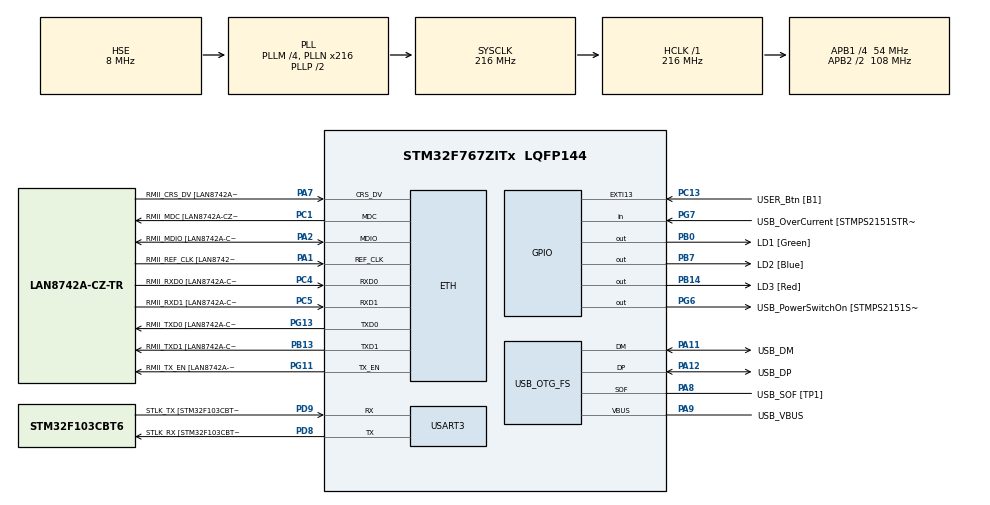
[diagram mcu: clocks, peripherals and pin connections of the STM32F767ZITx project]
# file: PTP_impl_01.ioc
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Dma.Request0=USART3_RX
Dma.Request1=USART3_TX
Dma.USART3_RX.0.Direction=DMA_PERIPH_TO_MEMORY
Dma.USART3_RX.0.FIFOMode=DMA_FIFOMODE_DISABLE
Dma.USART3_RX.0.Instance=DMA1_Stream1
Dma.USART3_RX.0.MemDataAlignment=DMA_MDATAALIGN_BYTE
Dma.USART3_RX.0.MemInc=DMA_MINC_ENABLE
Dma.USART3_RX.0.Mode=DMA_NORMAL
Dma.USART3_RX.0.PeriphDataAlignment=DMA_PDATAALIGN_BYTE
Dma.USART3_RX.0.PeriphInc=DMA_PINC_DISABLE
Dma.USART3_RX.0.Priority=DMA_PRIORITY_LOW
Dma.USART3_TX.1.Direction=DMA_MEMORY_TO_PERIPH
Dma.USART3_TX.1.FIFOMode=DMA_FIFOMODE_DISABLE
Dma.USART3_TX.1.Instance=DMA1_Stream3
Dma.USART3_TX.1.MemDataAlignment=DMA_MDATAALIGN_BYTE
Dma.USART3_TX.1.MemInc=DMA_MINC_ENABLE
Dma.USART3_TX.1.Mode=DMA_NORMAL
Dma.USART3_TX.1.PeriphDataAlignment=DMA_PDATAALIGN_BYTE
Dma.USART3_TX.1.PeriphInc=DMA_PINC_DISABLE
Dma.USART3_TX.1.Priority=DMA_PRIORITY_LOW
ETH.MediaInterface=HAL_ETH_RMII_MODE
ETH.PHY_Name=LAN8742A_PHY_ADDRESS
ETH.PHY_Value=0
ETH.PhyAddress=0
ETH.RxMode=ETH_RXINTERRUPT_MODE
Mcu.Family=STM32F7
Mcu.Name=STM32F767ZITx
Mcu.Package=LQFP144
NVIC.DMA1_Stream1_IRQn=true\:0\:0\:false\:false\:true\:false\:true\:true
NVIC.DMA1_Stream3_IRQn=true\:0\:0\:false\:false\:true\:false\:true\:true
NVIC.ETH_IRQn=true\:0\:0\:false\:false\:true\:true\:true\:true
NVIC.PriorityGroup=NVIC_PRIORITYGROUP_4
PA1.GPIO_Label=RMII_REF_CLK [LAN8742A-CZ-TR_REFCLK0]
PA1.Mode=RMII
PA1.Signal=ETH_REF_CLK
PA10.GPIO_Label=USB_ID
PA10.Signal=USB_OTG_FS_ID
PA11.GPIO_Label=USB_DM
PA11.Mode=Device_Only
PA11.Signal=USB_OTG_FS_DM
PA12.GPIO_Label=USB_DP
PA12.Mode=Device_Only
PA12.Signal=USB_OTG_FS_DP
PA13.GPIO_Label=TMS
PA13.Mode=Serial_Wire
PA13.Signal=SYS_JTMS-SWDIO
PA14.GPIO_Label=TCK
PA14.Mode=Serial_Wire
PA14.Signal=SYS_JTCK-SWCLK
PA2.GPIO_Label=RMII_MDIO [LAN8742A-CZ-TR_MDIO]
PA2.Mode=RMII
PA2.Signal=ETH_MDIO
PA7.GPIO_Label=RMII_CRS_DV [LAN8742A-CZ-TR_CRS_DV]
PA7.Mode=RMII
PA7.Signal=ETH_CRS_DV
PA8.GPIO_Label=USB_SOF [TP1]
PA8.Mode=Activate_SOF_FS
PA8.Signal=USB_OTG_FS_SOF
PA9.GPIO_Label=USB_VBUS
PA9.Mode=Activate_VBUS
PA9.Signal=USB_OTG_FS_VBUS
PB0.GPIO_Label=LD1 [Green]
PB0.PinState=GPIO_PIN_RESET
PB0.Signal=GPIO_Output
PB13.GPIO_Label=RMII_TXD1 [LAN8742A-CZ-TR_TXD1]
PB13.Mode=RMII
PB13.Signal=ETH_TXD1
PB14.GPIO_Label=LD3 [Red]
PB14.Signal=GPIO_Output
PB3.GPIO_Label=SWO
PB3.Signal=SYS_JTDO-SWO
PB7.GPIO_Label=LD2 [Blue]
PB7.Signal=GPIO_Output
PC1.GPIO_Label=RMII_MDC [LAN8742A-CZ-TR_MDC]
PC1.Mode=RMII
PC1.Signal=ETH_MDC
PC13.GPIO_Label=USER_Btn [B1]
PC13.Signal=GPXTI13
PC14/OSC32_IN.Mode=LSE-External-Oscillator
PC14/OSC32_IN.Signal=RCC_OSC32_IN
PC15/OSC32_OUT.Mode=LSE-External-Oscillator
PC15/OSC32_OUT.Signal=RCC_OSC32_OUT
PC4.GPIO_Label=RMII_RXD0 [LAN8742A-CZ-TR_RXD0]
PC4.Mode=RMII
PC4.Signal=ETH_RXD0
PC5.GPIO_Label=RMII_RXD1 [LAN8742A-CZ-TR_RXD1]
PC5.Mode=RMII
PC5.Signal=ETH_RXD1
PD8.GPIO_Label=STLK_RX [STM32F103CBT6_PA3]
PD8.Mode=Asynchronous
PD8.Signal=USART3_TX
PD9.GPIO_Label=STLK_TX [STM32F103CBT6_PA2]
PD9.Mode=Asynchronous
PD9.Signal=USART3_RX
PG11.GPIO_Label=RMII_TX_EN [LAN8742A-CZ-TR_TXEN]
PG11.Mode=RMII
PG11.Signal=ETH_TX_EN
PG13.GPIO_Label=RMII_TXD0 [LAN8742A-CZ-TR_TXD0]
PG13.Mode=RMII
PG13.Signal=ETH_TXD0
PG6.GPIO_Label=USB_PowerSwitchOn [STMPS2151STR_EN]
PG6.Signal=GPIO_Output
PG7.GPIO_Label=USB_OverCurrent [STMPS2151STR_FAULT]
PG7.Signal=GPIO_Input
PH0/OSC_IN.GPIO_Label=MCO [STM32F103CBT6_PA8]
PH0/OSC_IN.Mode=HSE-External-Clock-Source
PH0/OSC_IN.Signal=RCC_OSC_IN
PH1/OSC_OUT.Mode=HSE-External-Clock-Source
PH1/OSC_OUT.Signal=RCC_OSC_OUT
ProjectManager.HeapSize=0x200
ProjectManager.StackSize=0x400
ProjectManager.TargetToolchain=STM32CubeIDE
RCC.48MHZClocksFreq_Value=24000000
RCC.AHBFreq_Value=216000000
RCC.APB1CLKDivider=RCC_HCLK_DIV4
RCC.APB1Freq_Value=54000000
RCC.APB1TimFreq_Value=108000000
RCC.APB2CLKDivider=RCC_HCLK_DIV2
RCC.APB2Freq_Value=108000000
RCC.APB2TimFreq_Value=216000000
RCC.CortexFreq_Value=216000000
RCC.HCLKFreq_Value=216000000
RCC.HSE_VALUE=8000000
RCC.HSI_VALUE=16000000
RCC.PLLM=4
RCC.PLLMUL=RCC_PLL_MUL9
RCC.PLLN=216
RCC.PLLQ=9
RCC.PRESCALERUSB=RCC_USBCLKSOURCE_PLL_DIV1_5
RCC.SYSCLKFreq_VALUE=216000000
RCC.SYSCLKSource=RCC_SYSCLKSOURCE_PLLCLK
RCC.SYSCLKSourceVirtual=RCC_SYSCLKSOURCE_PLLCLK
RCC.USBFreq_Value=48000000
RCC.VCOOutputFreq_Value=432000000
USART3.VirtualMode-Asynchronous=VM_ASYNC
USB_OTG_FS.VirtualMode=Device_Only
board=NUCLEO-F767ZI

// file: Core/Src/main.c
/* USER CODE BEGIN Header */
/**
  ******************************************************************************
  * @file           : main.c SLAVE
  * @brief          : Main program body
  ******************************************************************************
  * @attention
  *
  * Copyright (c) 2026 STMicroelectronics.
  * All rights reserved.
  *
  * This software is licensed under terms that can be found in the LICENSE file
  * in the root directory of this software component.
  * If no LICENSE file comes with this software, it is provided AS-IS.
  *
  ******************************************************************************
  */
/* USER CODE END Header */
#include "main.h"
#include "string.h"

/* USER CODE BEGIN PTD */
typedef struct
{
    uint8_t  pending;
    uint16_t seq_id;
    uint32_t sec;
    uint32_t nsec;
} PTP_RxTimestampEvent;

typedef struct
{
    uint8_t  pending;
    uint16_t seq_id;
    uint32_t sec;
    uint32_t nsec;
} PTP_FollowUpEvent;

typedef struct
{
    uint8_t  pending;
    uint16_t seq_id;
    uint32_t sec;
    uint32_t nsec;
} PTP_DelayRespEvent;
/* USER CODE END PTD */

/* USER CODE BEGIN PD */
#define PTP_SYNC                      0U
#define PTP_DELAY_REQ                 1U
#define PTP_FOLLOW_UP                 8U
#define PTP_DELAY_RESP                9U

#define ETH_RX_BUFFER_SIZE            1524U
#define PTP_WAIT_LOOP                 1000000UL

#define PTP_HCLK_HZ                   216000000ULL
#define PTP_SUBSEC_INCREMENT_NS       5ULL
#define PTP_ENABLE_FINE_MODE          1U

#define PTP_NS_PER_SEC                1000000000ULL
#define PTP_SUBSEC_PER_SEC            0x80000000ULL

#define PTP_PHASE_HARD_STEP_THRESHOLD_NS   5000000LL   /* 5 ms */
#define PTP_PHASE_HARD_STEP_LIMIT_NS       1000000LL   /* 1 ms, только для редких крупных ошибок */

#define PTP_FREQ_LOCK_PPB                   100LL
#define PTP_FREQ_LOCK_MIN_CYCLES              8U
#define PTP_PHASE_CAPTURE_THRESHOLD_NS    3000LL
#define PTP_PHASE_CAPTURE_NUM                7LL
#define PTP_PHASE_CAPTURE_DEN                8LL
#define PTP_PHASE_CAPTURE_LIMIT_NS      100000LL
#define PTP_PHASE_HOLDOFF_CYCLES            12U

#define PTP_FREQ_MIN_CYCLE_NS            100000000LL  /* >=100 ms */
#define PTP_FREQ_ADDEND_STEP_MAX             2000LL
#define PTP_FREQ_ADDEND_OFFSET_MAX        1000000LL
#define PTP_FREQ_DEADBAND_OFFSET_NS         1000LL
#define PTP_FREQ_DEADBAND_PPB                 20LL

#define PTP_FREQ_FAST_ZONE_NS              20000LL
#define PTP_FREQ_MEDIUM_ZONE_NS             5000LL

#define PTP_FREQ_SHIFT_FAST                    2U
#define PTP_FREQ_SHIFT_MEDIUM                  3U
#define PTP_FREQ_SHIFT_SLOW                    5U

/* USER CODE END PD */

#if defined ( __ICCARM__ ) /*!< IAR Compiler */
#pragma location=0x2007c000
ETH_DMADescTypeDef  DMARxDscrTab[ETH_RX_DESC_CNT]; /* Ethernet Rx DMA Descriptors */
#pragma location=0x2007c0a0
ETH_DMADescTypeDef  DMATxDscrTab[ETH_TX_DESC_CNT]; /* Ethernet Tx DMA Descriptors */

#elif defined ( __CC_ARM )  /* MDK ARM Compiler */

__attribute__((at(0x2007c000))) ETH_DMADescTypeDef  DMARxDscrTab[ETH_RX_DESC_CNT]; /* Ethernet Rx DMA Descriptors */
__attribute__((at(0x2007c0a0))) ETH_DMADescTypeDef  DMATxDscrTab[ETH_TX_DESC_CNT]; /* Ethernet Tx DMA Descriptors */

#elif defined ( __GNUC__ ) /* GNU Compiler */

ETH_DMADescTypeDef DMARxDscrTab[ETH_RX_DESC_CNT] __attribute__((section(".RxDecripSection"))); /* Ethernet Rx DMA Descriptors */
ETH_DMADescTypeDef DMATxDscrTab[ETH_TX_DESC_CNT] __attribute__((section(".TxDecripSection")));   /* Ethernet Tx DMA Descriptors */
#endif

ETH_TxPacketConfig TxConfig;

ETH_HandleTypeDef heth;

UART_HandleTypeDef huart3;
DMA_HandleTypeDef hdma_usart3_rx;
DMA_HandleTypeDef hdma_usart3_tx;

PCD_HandleTypeDef hpcd_USB_OTG_FS;

/* USER CODE BEGIN PV */
uint8_t Rx_Buff[ETH_RX_DESC_CNT][ETH_RX_BUFFER_SIZE];
uint8_t delay_req_frame[58];

volatile uint32_t sec;
volatile uint32_t nsec;

volatile uint8_t  ptp_synced = 0U;
volatile uint8_t  sync_received = 0U;
volatile uint8_t  delayreq_pending = 0U;
volatile uint8_t  delayreq_tx_ts_waiting = 0U;
volatile uint8_t  ptp_request_delayreq = 0U;

volatile uint16_t sync_seq_id = 0U;
volatile uint16_t delayreq_seq_id = 0U;

volatile uint32_t follow_sec = 0U;
volatile uint32_t follow_nsec = 0U;
volatile uint32_t sync_rx_sec = 0U;
volatile uint32_t sync_rx_nsec = 0U;
volatile uint32_t tx_t3_sec = 0U;
volatile uint32_t tx_t3_nsec = 0U;
volatile uint32_t resp_t4_sec = 0U;
volatile uint32_t resp_t4_nsec = 0U;

volatile int64_t t1 = 0;
volatile int64_t t2 = 0;
volatile int64_t t3 = 0;
volatile int64_t t4 = 0;

volatile int64_t delta_sync = 0;
volatile int64_t delta_delay = 0;
volatile int64_t mean_path_delay = 0;
volatile int64_t ptp_offset_e2e = 0;
volatile int64_t ptp_offset = 0;
volatile int32_t ptp_offset_ns = 0;
volatile int64_t offset_avg = 0;

volatile uint32_t delayresp_count = 0U;
volatile uint32_t tx_ts_seen = 0U;
volatile uint32_t sync_rx_ts_valid_count = 0U;

volatile uint32_t ptp_default_addend = 0U;
volatile uint32_t ptp_current_addend = 0U;
volatile uint32_t ptp_addend_update_count = 0U;
volatile uint32_t ptp_reg_timeout_count = 0U;
volatile uint32_t ptp_tx_req_fail_count = 0U;
volatile int64_t  ptp_last_update_ns = 0;

volatile PTP_RxTimestampEvent g_sync_evt = {0};
volatile PTP_FollowUpEvent    g_follow_evt = {0};
volatile PTP_DelayRespEvent   g_delayresp_evt = {0};

static uint32_t delayreq_tx_desc_idx = 0U;

volatile uint8_t  ptp_freq_servo_locked = 0U;

volatile int64_t  ptp_master_time_prev = 0;
volatile int64_t  ptp_slave_time_prev  = 0;
volatile int64_t  ptp_master_count     = 0;
volatile int64_t  ptp_slave_count      = 0;
volatile int64_t  ptp_clock_diff       = 0;
volatile int64_t  ptp_freq_err_ppb     = 0;
volatile int64_t  ptp_last_addend_step = 0;

volatile uint32_t ptp_freq_update_count = 0U;
volatile uint32_t ptp_phase_step_count  = 0U;

volatile uint32_t ptp_freq_lock_count = 0U;
volatile uint8_t  ptp_phase_holdoff = 0U;

/* USER CODE END PV */

void SystemClock_Config(void);
static void MX_GPIO_Init(void);
static void MX_DMA_Init(void);
static void MX_ETH_Init(void);
static void MX_USART3_UART_Init(void);
static void MX_USB_OTG_FS_PCD_Init(void);
static uint8_t PTP_TryReadTxTimestamp(void);
/* USER CODE BEGIN PFP */
static void PTP_HW_Init(void);
static void PTP_Process(void);
static void PTP_SendDelayReq(void);
static void PTP_BuildDelayReqFrame(uint8_t *frame, uint16_t seq_id);
static uint8_t PTP_WaitRegBitClear(volatile uint32_t *reg, uint32_t mask, uint32_t loops);
static uint32_t PTP_NsToSubsec(uint32_t ns_val);
static uint32_t PTP_UpdateLowFromNs(uint32_t ns_val, uint8_t negative);
static uint32_t PTP_CalcDefaultAddend(void);
static uint8_t PTP_ApplyAddend(uint32_t addend);
static uint8_t PTP_ApplyTimeInitialize(uint32_t sec_val, uint32_t nsec_val);
static uint8_t PTP_ApplyTimeUpdateNs(int64_t corr_ns);
static uint32_t PTP_ParseSecondsLow32(const uint8_t *ts);
static uint32_t PTP_ParseNanoseconds(const uint8_t *ts);
static int64_t  PTP_ToNs(uint32_t sec_val, uint32_t nsec_val);
static void    PTP_ServoReset(void);
static int64_t PTP_Abs64(int64_t v);
static uint8_t PTP_ApplyAddendFiltered(int64_t delta_addend);
static void    PTP_UpdateFrequencyServo(int64_t master_time_now, int64_t slave_time_now);
/* USER CODE END PFP */

/* USER CODE BEGIN 0 */

static uint8_t PTP_WaitRegBitClear(volatile uint32_t *reg, uint32_t mask, uint32_t loops)
{
    while (((*reg) & mask) != 0U)
    {
        if (loops-- == 0U)
        {
            ptp_reg_timeout_count++;
            return 0U;
        }
    }
    return 1U;
}

static uint32_t PTP_NsToSubsec(uint32_t ns_val)
{
    uint64_t tmp;

    if (ns_val >= 1000000000UL)
    {
        ns_val = 999999999UL;
    }

    tmp = ((uint64_t)ns_val * PTP_SUBSEC_PER_SEC + (PTP_NS_PER_SEC / 2ULL)) / PTP_NS_PER_SEC;
    if (tmp > 0x7FFFFFFFULL)
    {
        tmp = 0x7FFFFFFFULL;
    }

    return (uint32_t)tmp;
}

static uint32_t PTP_UpdateLowFromNs(uint32_t ns_val, uint8_t negative)
{
    uint32_t low = PTP_NsToSubsec(ns_val) & 0x7FFFFFFFUL;

    if (negative != 0U)
    {
        low |= 0x80000000UL;
    }

    return low;
}

static uint32_t PTP_CalcDefaultAddend(void)
{
    const uint64_t num = (1ULL << 32) * 1000000000ULL;
    const uint64_t den = PTP_HCLK_HZ * PTP_SUBSEC_INCREMENT_NS;
    return (uint32_t)(num / den);
}

static uint8_t PTP_ApplyAddend(uint32_t addend)
{
    if (!PTP_WaitRegBitClear(&ETH->PTPTSCR, ETH_PTPTSCR_TSARU, PTP_WAIT_LOOP))
    {
        return 0U;
    }

    ETH->PTPTSAR = addend;
    ETH->PTPTSCR |= ETH_PTPTSCR_TSARU;

    if (!PTP_WaitRegBitClear(&ETH->PTPTSCR, ETH_PTPTSCR_TSARU, PTP_WAIT_LOOP))
    {
        return 0U;
    }

    ptp_current_addend = addend;
    ptp_addend_update_count++;
    return 1U;
}

static uint8_t PTP_ApplyTimeInitialize(uint32_t sec_val, uint32_t nsec_val)
{
    uint32_t low;

    if (!PTP_WaitRegBitClear(&ETH->PTPTSCR, ETH_PTPTSCR_TSSTI | ETH_PTPTSCR_TSSTU, PTP_WAIT_LOOP))
    {
        return 0U;
    }

    low = PTP_UpdateLowFromNs(nsec_val, 0U);

    ETH->PTPTSHUR = sec_val;
    ETH->PTPTSLUR = low;
    ptp_last_update_ns = 0;

    ETH->PTPTSCR |= ETH_PTPTSCR_TSSTI;

    return PTP_WaitRegBitClear(&ETH->PTPTSCR, ETH_PTPTSCR_TSSTI, PTP_WAIT_LOOP);
}

static uint8_t PTP_ApplyTimeUpdateNs(int64_t corr_ns)
{
    uint32_t sec_upd;
    uint32_t nsec_mag;
    uint8_t negative;
    uint32_t low;

    if (corr_ns == 0)
    {
        return 1U;
    }

    if (!PTP_WaitRegBitClear(&ETH->PTPTSCR, ETH_PTPTSCR_TSSTI | ETH_PTPTSCR_TSSTU, PTP_WAIT_LOOP))
    {
        return 0U;
    }

    sec_upd = 0U;
    nsec_mag = 0U;
    negative = 0U;

    if (corr_ns < 0)
    {
        int64_t mag = -corr_ns;
        sec_upd  = (uint32_t)(mag / 1000000000LL);
        nsec_mag = (uint32_t)(mag % 1000000000LL);
        negative = 1U;
    }
    else
    {
        sec_upd  = (uint32_t)(corr_ns / 1000000000LL);
        nsec_mag = (uint32_t)(corr_ns % 1000000000LL);
    }

    low = PTP_UpdateLowFromNs(nsec_mag, negative);

    ETH->PTPTSHUR = sec_upd;
    ETH->PTPTSLUR = low;
    ptp_last_update_ns = corr_ns;

    ETH->PTPTSCR |= ETH_PTPTSCR_TSSTU;

    return PTP_WaitRegBitClear(&ETH->PTPTSCR, ETH_PTPTSCR_TSSTU, PTP_WAIT_LOOP);
}

static int64_t PTP_ToNs(uint32_t sec_val, uint32_t nsec_val)
{
    return ((int64_t)sec_val * 1000000000LL) + (int64_t)nsec_val;
}

static uint32_t PTP_ParseSecondsLow32(const uint8_t *ts)
{
    return ((uint32_t)ts[2] << 24) |
           ((uint32_t)ts[3] << 16) |
           ((uint32_t)ts[4] << 8)  |
           ((uint32_t)ts[5]);
}

static uint32_t PTP_ParseNanoseconds(const uint8_t *ts)
{
    return ((uint32_t)ts[6] << 24) |
           ((uint32_t)ts[7] << 16) |
           ((uint32_t)ts[8] << 8)  |
           ((uint32_t)ts[9]);
}

static void PTP_HW_Init(void)
{
    uint32_t ptptscr = 0U;

    ETH->MACFFR |= ETH_MACFFR_RA | ETH_MACFFR_PM;
    ETH->MACIMR |= (1UL << 9);
    ETH->PTPSSIR = (uint32_t)PTP_SUBSEC_INCREMENT_NS;

    ptptscr |= ETH_PTPTSCR_TSE;
    ptptscr |= ETH_PTPTSCR_TSPTPPSV2E;
    ptptscr |= ETH_PTPTSCR_TSSPTPOEFE;
    ptptscr |= ETH_PTPTSCR_TSSSR;
    ptptscr |= ETH_PTPTSCR_TSSARFE;
#if PTP_ENABLE_FINE_MODE
    ptptscr |= ETH_PTPTSCR_TSFCU;
#endif
    ETH->PTPTSCR = ptptscr;

    ptp_default_addend = PTP_CalcDefaultAddend();
    ptp_current_addend = ptp_default_addend;
#if PTP_ENABLE_FINE_MODE
    (void)PTP_ApplyAddend(ptp_default_addend);
#endif

    (void)PTP_ApplyTimeInitialize(0U, 0U);
}

static void PTP_BuildDelayReqFrame(uint8_t *frame, uint16_t seq_id)
{
    memset(frame, 0, 58U);

    frame[0]  = 0x01;
    frame[1]  = 0x1B;
    frame[2]  = 0x19;
    frame[3]  = 0x00;
    frame[4]  = 0x00;
    frame[5]  = 0x00;

    frame[6]  = 0x00;
    frame[7]  = 0x80;
    frame[8]  = 0xE1;
    frame[9]  = 0x00;
    frame[10] = 0x00;
    frame[11] = 0x00;

    frame[12] = 0x88;
    frame[13] = 0xF7;

    frame[14] = 0x01;
    frame[15] = 0x02;

    frame[16] = 0x00;
    frame[17] = 44U;

    frame[18] = 0x00;
    frame[19] = 0x00;

    frame[20] = 0x00;
    frame[21] = 0x00;

    frame[34] = 0x00;
    frame[35] = 0x80;
    frame[36] = 0xE1;
    frame[37] = 0xFF;
    frame[38] = 0xFE;
    frame[39] = 0x00;
    frame[40] = 0x00;
    frame[41] = 0x00;
    frame[42] = 0x00;
    frame[43] = 0x01;

    frame[44] = (uint8_t)((seq_id >> 8) & 0xFFU);
    frame[45] = (uint8_t)(seq_id & 0xFFU);

    frame[46] = 0x01;
    frame[47] = 0x7F;
}

static void PTP_SendDelayReq(void)
{
    ETH_BufferTypeDef txBuffer;
    ETH_DMADescTypeDef *txdesc;
    uint32_t *td;
    uint16_t seq;

    TxConfig.Attributes   = ETH_TX_PACKETS_FEATURES_CRCPAD;
    TxConfig.ChecksumCtrl = ETH_CHECKSUM_DISABLE;
    TxConfig.CRCPadCtrl   = ETH_CRC_PAD_INSERT;

    seq = ++delayreq_seq_id;
    PTP_BuildDelayReqFrame(delay_req_frame, seq);

    txBuffer.buffer = delay_req_frame;
    txBuffer.len    = sizeof(delay_req_frame);
    txBuffer.next   = NULL;

    TxConfig.Length   = sizeof(delay_req_frame);
    TxConfig.TxBuffer = &txBuffer;

    delayreq_tx_desc_idx = heth.TxDescList.CurTxDesc;
    txdesc = (ETH_DMADescTypeDef *)heth.TxDescList.TxDesc[delayreq_tx_desc_idx];
    td = (uint32_t *)txdesc;
    td[0] |= (1UL << 25);

    tx_t3_sec  = 0U;
    tx_t3_nsec = 0U;

    if (HAL_ETH_Transmit_IT(&heth, &TxConfig) == HAL_OK)
    {
        delayreq_pending = 1U;
        delayreq_tx_ts_waiting = 1U;
    }
    else
    {
        ptp_tx_req_fail_count++;
    }
}

static uint8_t PTP_TryReadTxTimestamp(void)
{
    ETH_DMADescTypeDef *txdesc;
    uint32_t *td;

    if (delayreq_tx_ts_waiting == 0U)
    {
        return 0U;
    }

    txdesc = (ETH_DMADescTypeDef *)heth.TxDescList.TxDesc[delayreq_tx_desc_idx];
    td = (uint32_t *)txdesc;

    if ((td[0] & (1UL << 31)) == 0U)
    {
        if ((td[0] & (1UL << 17)) != 0U)
        {
            tx_t3_nsec = td[6];
            tx_t3_sec  = td[7];
            tx_ts_seen++;
            delayreq_tx_ts_waiting = 0U;
            return 1U;
        }
    }

    return 0U;
}

static void PTP_Process(void)
{
    if (g_sync_evt.pending != 0U)
    {
        sync_seq_id   = g_sync_evt.seq_id;
        sync_rx_sec   = g_sync_evt.sec;
        sync_rx_nsec  = g_sync_evt.nsec;
        sync_received = 1U;
        g_sync_evt.pending = 0U;
    }

    if (g_follow_evt.pending != 0U)
    {
        follow_sec  = g_follow_evt.sec;
        follow_nsec = g_follow_evt.nsec;

        if ((g_follow_evt.seq_id == sync_seq_id) && (sync_received != 0U))
        {
            if (ptp_synced == 0U)
            {
                if (PTP_ApplyTimeInitialize(follow_sec, follow_nsec) != 0U)
                {
                    ptp_synced = 1U;
                    offset_avg = 0;
                    PTP_ServoReset();
                }
            }

            if ((ptp_synced != 0U) && (delayreq_pending == 0U))
            {
                ptp_request_delayreq = 1U;
            }
        }

        g_follow_evt.pending = 0U;
    }

    if ((ptp_request_delayreq != 0U) && (delayreq_pending == 0U))
    {
        ptp_request_delayreq = 0U;
        PTP_SendDelayReq();
    }

    if (g_delayresp_evt.pending != 0U)
    {
        resp_t4_sec  = g_delayresp_evt.sec;
        resp_t4_nsec = g_delayresp_evt.nsec;

        if (g_delayresp_evt.seq_id == delayreq_seq_id)
        {
            delayresp_count++;
            delayreq_pending = 0U;

            if (((tx_t3_sec != 0U) || (tx_t3_nsec != 0U)) && (delayreq_tx_ts_waiting == 0U))
            {

                t1 = PTP_ToNs(follow_sec, follow_nsec);
                t2 = PTP_ToNs(sync_rx_sec, sync_rx_nsec);
                t3 = PTP_ToNs(tx_t3_sec, tx_t3_nsec);
                t4 = PTP_ToNs(resp_t4_sec, resp_t4_nsec);

                delta_sync  = t2 - t1;
                delta_delay = t4 - t3;

                mean_path_delay = ((t2 - t1) + (t4 - t3)) / 2LL;
                ptp_offset_e2e  = ((t2 - t1) - (t4 - t3)) / 2LL;
                ptp_offset      = ptp_offset_e2e;
                ptp_offset_ns   = (int32_t)ptp_offset_e2e;

                {
                    int64_t master_time_now;
                    int64_t slave_time_now;
                    int64_t corr;

                    offset_avg = (offset_avg * 7LL + ptp_offset_e2e) / 8LL;

                    master_time_now = t1 + mean_path_delay;
                    slave_time_now  = t2;

                    /* 1) Частотная подстройка должна идти постоянно */
                    PTP_UpdateFrequencyServo(master_time_now, slave_time_now);

                    if (PTP_Abs64(ptp_freq_err_ppb) < PTP_FREQ_LOCK_PPB)
                    {
                        if (ptp_freq_lock_count < 1000U)
                        {
                            ptp_freq_lock_count++;
                        }
                    }
                    else
                    {
                        ptp_freq_lock_count = 0U;
                    }

                    /* 2) Очень большая ошибка фазы -> редкий грубый шаг */
                    if (PTP_Abs64(ptp_offset_e2e) > PTP_PHASE_HARD_STEP_THRESHOLD_NS)
                    {
                        corr = -ptp_offset_e2e;

                        if (corr > PTP_PHASE_HARD_STEP_LIMIT_NS)
                        {
                            corr = PTP_PHASE_HARD_STEP_LIMIT_NS;
                        }
                        else if (corr < -PTP_PHASE_HARD_STEP_LIMIT_NS)
                        {
                            corr = -PTP_PHASE_HARD_STEP_LIMIT_NS;
                        }

                        if (PTP_ApplyTimeUpdateNs(corr) != 0U)
                        {
                            ptp_phase_step_count++;
                            ptp_last_update_ns = corr;
                            PTP_ServoReset();
                            offset_avg = 0;
                            ptp_phase_holdoff = 12U;
                        }
                    }
                    /* 3) Небольшая, но устойчивая фазовая ошибка -> мягкий trim */
                    else
                    {
                        if (ptp_phase_holdoff != 0U)
                        {
                            ptp_phase_holdoff--;
                        }
                        else if (ptp_freq_lock_count >= PTP_FREQ_LOCK_MIN_CYCLES)
                        {
                            if (PTP_Abs64(offset_avg) > PTP_PHASE_CAPTURE_THRESHOLD_NS)
                            {
                                corr = -(offset_avg * PTP_PHASE_CAPTURE_NUM) / PTP_PHASE_CAPTURE_DEN;

                                if (corr > PTP_PHASE_CAPTURE_LIMIT_NS)
                                {
                                    corr = PTP_PHASE_CAPTURE_LIMIT_NS;
                                }
                                else if (corr < -PTP_PHASE_CAPTURE_LIMIT_NS)
                                {
                                    corr = -PTP_PHASE_CAPTURE_LIMIT_NS;
                                }

                                if (PTP_ApplyTimeUpdateNs(corr) != 0U)
                                {
                                    ptp_phase_step_count++;
                                    ptp_last_update_ns = corr;
                                    offset_avg = 0;
                                    ptp_phase_holdoff = PTP_PHASE_HOLDOFF_CYCLES;
                                    ptp_freq_servo_locked = 0U;
                                    ptp_freq_lock_count = 0U;
                                }
                            }
                        }
                    }
                }
            }
        }

        g_delayresp_evt.pending = 0U;
    }
}

void HAL_ETH_RxAllocateCallback(uint8_t **buff)
{
    static uint32_t idx = 0U;

    *buff = Rx_Buff[idx];

    idx++;
    if (idx >= ETH_RX_DESC_CNT)
    {
        idx = 0U;
    }
}

void HAL_ETH_RxLinkCallback(void **pStart, void **pEnd, uint8_t *buff, uint16_t len)
{
    (void)len;

    if (*pStart == NULL)
    {
        *pStart = buff;
    }
    else
    {
        *(uint8_t **)(*pEnd) = buff;
    }

    *pEnd = buff;
}

void HAL_ETH_TxFreeCallback(uint32_t *buff)
{
    (void)buff;
}

void HAL_ETH_RxCpltCallback(ETH_HandleTypeDef *heth_local)
{
    uint8_t *buf = NULL;

    if (HAL_ETH_ReadData(heth_local, (void **)&buf) == HAL_OK)
    {
        uint16_t eth_type;
        uint8_t  ptp_message;
        uint16_t ptp_seq_id;
        uint32_t rx_sec;
        uint32_t rx_nsec;
        uint32_t idx;
        ETH_DMADescTypeDef *desc;
        uint32_t *d;
        uint8_t rx_hw_valid = 0U;
        uint32_t rx_hw_sec = 0U;
        uint32_t rx_hw_nsec = 0U;

        eth_type = ((uint16_t)buf[12] << 8) | buf[13];
        rx_sec   = ETH->PTPTSHR;
        rx_nsec  = ETH->PTPTSLR;

        if (eth_type != 0x88F7U)
        {
            return;
        }

        ptp_message = buf[14] & 0x0FU;
        ptp_seq_id  = ((uint16_t)buf[44] << 8) | buf[45];

        idx = heth_local->RxDescList.RxDescIdx;
        idx = (idx == 0U) ? (ETH_RX_DESC_CNT - 1U) : (idx - 1U);

        desc = (ETH_DMADescTypeDef *)heth_local->RxDescList.RxDesc[idx];
        d = (uint32_t *)desc;

        /* For received PTP event frames on this setup, d[6]/d[7] carry the valid RX timestamp. */
        if ((d[6] != 0U) || (d[7] != 0U))
        {
            rx_hw_nsec = d[6];
            rx_hw_sec  = d[7];
            rx_hw_valid = 1U;
        }

        if (ptp_message == PTP_SYNC)
        {
            g_sync_evt.pending = 1U;
            g_sync_evt.seq_id  = ptp_seq_id;

            if (rx_hw_valid != 0U)
            {
                g_sync_evt.sec  = rx_hw_sec;
                g_sync_evt.nsec = rx_hw_nsec;
                sync_rx_ts_valid_count++;
            }
            else
            {
                g_sync_evt.sec  = rx_sec;
                g_sync_evt.nsec = rx_nsec;
            }
        }
        else if (ptp_message == PTP_FOLLOW_UP)
        {
            const uint8_t *ts = &buf[48];

            g_follow_evt.pending = 1U;
            g_follow_evt.seq_id  = ptp_seq_id;
            g_follow_evt.sec     = PTP_ParseSecondsLow32(ts);
            g_follow_evt.nsec    = PTP_ParseNanoseconds(ts);
        }
        else if (ptp_message == PTP_DELAY_RESP)
        {
            const uint8_t *ts = &buf[48];

            g_delayresp_evt.pending = 1U;
            g_delayresp_evt.seq_id  = ptp_seq_id;
            g_delayresp_evt.sec     = PTP_ParseSecondsLow32(ts);
            g_delayresp_evt.nsec    = PTP_ParseNanoseconds(ts);
        }

        HAL_GPIO_TogglePin(LD3_GPIO_Port, LD3_Pin);
    }
}

static int64_t PTP_Abs64(int64_t v)
{
    return (v < 0) ? -v : v;
}

static void PTP_ServoReset(void)
{
    ptp_freq_servo_locked = 0U;
    ptp_master_time_prev  = 0;
    ptp_slave_time_prev   = 0;
    ptp_master_count      = 0;
    ptp_slave_count       = 0;
    ptp_clock_diff        = 0;
    ptp_freq_err_ppb      = 0;
    ptp_last_addend_step  = 0;
    ptp_freq_lock_count   = 0U;
    ptp_phase_holdoff	  = 0U;
}

static uint8_t PTP_ApplyAddendFiltered(int64_t delta_addend)
{
    int64_t new_addend;
    int64_t min_addend;
    int64_t max_addend;

    if (delta_addend > PTP_FREQ_ADDEND_STEP_MAX)
    {
        delta_addend = PTP_FREQ_ADDEND_STEP_MAX;
    }
    else if (delta_addend < -PTP_FREQ_ADDEND_STEP_MAX)
    {
        delta_addend = -PTP_FREQ_ADDEND_STEP_MAX;
    }

    min_addend = (int64_t)ptp_default_addend - PTP_FREQ_ADDEND_OFFSET_MAX;
    max_addend = (int64_t)ptp_default_addend + PTP_FREQ_ADDEND_OFFSET_MAX;

    new_addend = (int64_t)ptp_current_addend + delta_addend;

    if (new_addend < min_addend)
    {
        new_addend = min_addend;
    }
    else if (new_addend > max_addend)
    {
        new_addend = max_addend;
    }

    ptp_last_addend_step = delta_addend;

    if ((uint32_t)new_addend == ptp_current_addend)
    {
        return 1U;
    }

    if (PTP_ApplyAddend((uint32_t)new_addend) != 0U)
    {
        ptp_freq_update_count++;
        return 1U;
    }

    return 0U;
}

static void PTP_UpdateFrequencyServo(int64_t master_time_now, int64_t slave_time_now)
{
    int64_t master_count;
    int64_t slave_count;
    int64_t clock_diff;
    int64_t delta_addend;
    int64_t abs_offset;
    uint32_t freq_shift;

    if (ptp_freq_servo_locked == 0U)
    {
        ptp_master_time_prev = master_time_now;
        ptp_slave_time_prev  = slave_time_now;
        ptp_freq_servo_locked = 1U;
        return;
    }

    master_count = master_time_now - ptp_master_time_prev;
    slave_count  = slave_time_now  - ptp_slave_time_prev;

    ptp_master_time_prev = master_time_now;
    ptp_slave_time_prev  = slave_time_now;

    if ((master_count < PTP_FREQ_MIN_CYCLE_NS) || (slave_count < PTP_FREQ_MIN_CYCLE_NS))
    {
        return;
    }

    if (slave_count <= 0)
    {
        return;
    }

    clock_diff = master_count - slave_count;

    ptp_master_count = master_count;
    ptp_slave_count  = slave_count;
    ptp_clock_diff   = clock_diff;
    ptp_freq_err_ppb = (clock_diff * 1000000000LL) / slave_count;

    abs_offset = PTP_Abs64(ptp_offset_e2e);

    /* около нуля addend лучше лишний раз не дёргать */
    if ((abs_offset < PTP_FREQ_DEADBAND_OFFSET_NS) &&
        (PTP_Abs64(ptp_freq_err_ppb) < PTP_FREQ_DEADBAND_PPB))
    {
        ptp_last_addend_step = 0;
        return;
    }

    if (abs_offset > PTP_FREQ_FAST_ZONE_NS)
    {
        freq_shift = PTP_FREQ_SHIFT_FAST;
    }
    else if (abs_offset > PTP_FREQ_MEDIUM_ZONE_NS)
    {
        freq_shift = PTP_FREQ_SHIFT_MEDIUM;
    }
    else
    {
        freq_shift = PTP_FREQ_SHIFT_SLOW;
    }

    delta_addend = ((int64_t)ptp_current_addend * clock_diff) / slave_count;
    delta_addend >>= freq_shift;

    (void)PTP_ApplyAddendFiltered(delta_addend);
}

/* USER CODE END 0 */

int main(void)
{

  /* MCU Configuration--------------------------------------------------------*/

  /* Reset of all peripherals, Initializes the Flash interface and the Systick. */
  HAL_Init();

  /* Configure the system clock */
  SystemClock_Config();

  /* USER CODE BEGIN SysInit */
  //SCB_DisableDCache();
  /* USER CODE END SysInit */

  /* Initialize all configured peripherals */
  MX_GPIO_Init();
  MX_DMA_Init();
  MX_ETH_Init();
  MX_USART3_UART_Init();
  MX_USB_OTG_FS_PCD_Init();
  /* USER CODE BEGIN 2 */

  HAL_ETH_RegisterRxAllocateCallback(&heth, HAL_ETH_RxAllocateCallback);
  HAL_ETH_RegisterRxLinkCallback(&heth, HAL_ETH_RxLinkCallback);
  HAL_ETH_RegisterTxFreeCallback(&heth, HAL_ETH_TxFreeCallback);

  HAL_NVIC_EnableIRQ(ETH_IRQn);

  HAL_ETH_Start_IT(&heth);
  __HAL_ETH_DMA_ENABLE_IT(&heth, ETH_DMA_IT_T);

  PTP_HW_Init();

  /* USER CODE END 2 */

  /* Infinite loop */
  while (1)
  {

    /* USER CODE BEGIN 3 */
	  sec = ETH->PTPTSHR;
	  nsec = ETH->PTPTSLR;

	  (void)PTP_TryReadTxTimestamp();
	  HAL_ETH_ReleaseTxPacket(&heth);
	  PTP_Process();

  }
  /* USER CODE END 3 */
}

void SystemClock_Config(void)
{
  RCC_OscInitTypeDef RCC_OscInitStruct = {0};
  RCC_ClkInitTypeDef RCC_ClkInitStruct = {0};

  /** Configure LSE Drive Capability
  */
  HAL_PWR_EnableBkUpAccess();

  /** Configure the main internal regulator output voltage
  */
  __HAL_RCC_PWR_CLK_ENABLE();
  __HAL_PWR_VOLTAGESCALING_CONFIG(PWR_REGULATOR_VOLTAGE_SCALE1);

  /** Initializes the RCC Oscillators according to the specified parameters
  * in the RCC_OscInitTypeDef structure.
  */
  RCC_OscInitStruct.OscillatorType = RCC_OSCILLATORTYPE_HSE;
  RCC_OscInitStruct.HSEState = RCC_HSE_BYPASS;
  RCC_OscInitStruct.PLL.PLLState = RCC_PLL_ON;
  RCC_OscInitStruct.PLL.PLLSource = RCC_PLLSOURCE_HSE;
  RCC_OscInitStruct.PLL.PLLM = 4;
  RCC_OscInitStruct.PLL.PLLN = 216;
  RCC_OscInitStruct.PLL.PLLP = RCC_PLLP_DIV2;
  RCC_OscInitStruct.PLL.PLLQ = 9;
  RCC_OscInitStruct.PLL.PLLR = 2;
  if (HAL_RCC_OscConfig(&RCC_OscInitStruct) != HAL_OK)
  {
    Error_Handler();
  }

  /** Activate the Over-Drive mode
  */
  if (HAL_PWREx_EnableOverDrive() != HAL_OK)
  {
    Error_Handler();
  }

  /** Initializes the CPU, AHB and APB buses clocks
  */
  RCC_ClkInitStruct.ClockType = RCC_CLOCKTYPE_HCLK|RCC_CLOCKTYPE_SYSCLK
                              |RCC_CLOCKTYPE_PCLK1|RCC_CLOCKTYPE_PCLK2;
  RCC_ClkInitStruct.SYSCLKSource = RCC_SYSCLKSOURCE_PLLCLK;
  RCC_ClkInitStruct.AHBCLKDivider = RCC_SYSCLK_DIV1;
  RCC_ClkInitStruct.APB1CLKDivider = RCC_HCLK_DIV4;
  RCC_ClkInitStruct.APB2CLKDivider = RCC_HCLK_DIV2;

  if (HAL_RCC_ClockConfig(&RCC_ClkInitStruct, FLASH_LATENCY_7) != HAL_OK)
  {
    Error_Handler();
  }
}

static void MX_ETH_Init(void)
{

   static uint8_t MACAddr[6];

  heth.Instance = ETH;
  MACAddr[0] = 0x00;
  MACAddr[1] = 0x80;
  MACAddr[2] = 0xE1;
  MACAddr[3] = 0x00;
  MACAddr[4] = 0x00;
  MACAddr[5] = 0x00;
  heth.Init.MACAddr = &MACAddr[0];
  heth.Init.MediaInterface = HAL_ETH_RMII_MODE;
  heth.Init.TxDesc = DMATxDscrTab;
  heth.Init.RxDesc = DMARxDscrTab;
  heth.Init.RxBuffLen = ETH_RX_BUFFER_SIZE;

  if (HAL_ETH_Init(&heth) != HAL_OK)
  {
    Error_Handler();
  }

  ETH->DMABMR |= ETH_DMABMR_AAB;
  ETH->DMABMR |= ETH_DMABMR_EDE;

  memset(&TxConfig, 0 , sizeof(ETH_TxPacketConfig));
  TxConfig.Attributes   = ETH_TX_PACKETS_FEATURES_CRCPAD;
  TxConfig.ChecksumCtrl = ETH_CHECKSUM_DISABLE;
  TxConfig.CRCPadCtrl   = ETH_CRC_PAD_INSERT;

}

static void MX_USART3_UART_Init(void)
{

  huart3.Instance = USART3;
  huart3.Init.BaudRate = 115200;
  huart3.Init.WordLength = UART_WORDLENGTH_8B;
  huart3.Init.StopBits = UART_STOPBITS_1;
  huart3.Init.Parity = UART_PARITY_NONE;
  huart3.Init.Mode = UART_MODE_TX_RX;
  huart3.Init.HwFlowCtl = UART_HWCONTROL_NONE;
  huart3.Init.OverSampling = UART_OVERSAMPLING_16;
  huart3.Init.OneBitSampling = UART_ONE_BIT_SAMPLE_DISABLE;
  huart3.AdvancedInit.AdvFeatureInit = UART_ADVFEATURE_NO_INIT;
  if (HAL_UART_Init(&huart3) != HAL_OK)
  {
    Error_Handler();
  }

}

static void MX_USB_OTG_FS_PCD_Init(void)
{

  hpcd_USB_OTG_FS.Instance = USB_OTG_FS;
  hpcd_USB_OTG_FS.Init.dev_endpoints = 6;
  hpcd_USB_OTG_FS.Init.speed = PCD_SPEED_FULL;
  hpcd_USB_OTG_FS.Init.dma_enable = DISABLE;
  hpcd_USB_OTG_FS.Init.phy_itface = PCD_PHY_EMBEDDED;
  hpcd_USB_OTG_FS.Init.Sof_enable = ENABLE;
  hpcd_USB_OTG_FS.Init.low_power_enable = DISABLE;
  hpcd_USB_OTG_FS.Init.lpm_enable = DISABLE;
  hpcd_USB_OTG_FS.Init.vbus_sensing_enable = ENABLE;
  hpcd_USB_OTG_FS.Init.use_dedicated_ep1 = DISABLE;
  if (HAL_PCD_Init(&hpcd_USB_OTG_FS) != HAL_OK)
  {
    Error_Handler();
  }

}

static void MX_DMA_Init(void)
{

  /* DMA controller clock enable */
  __HAL_RCC_DMA1_CLK_ENABLE();

  /* DMA interrupt init */
  /* DMA1_Stream1_IRQn interrupt configuration */
  HAL_NVIC_SetPriority(DMA1_Stream1_IRQn, 0, 0);
  HAL_NVIC_EnableIRQ(DMA1_Stream1_IRQn);
  /* DMA1_Stream3_IRQn interrupt configuration */
  HAL_NVIC_SetPriority(DMA1_Stream3_IRQn, 0, 0);
  HAL_NVIC_EnableIRQ(DMA1_Stream3_IRQn);

}

static void MX_GPIO_Init(void)
{
  GPIO_InitTypeDef GPIO_InitStruct = {0};

  /* GPIO Ports Clock Enable */
  __HAL_RCC_GPIOC_CLK_ENABLE();
  __HAL_RCC_GPIOH_CLK_ENABLE();
  __HAL_RCC_GPIOA_CLK_ENABLE();
  __HAL_RCC_GPIOB_CLK_ENABLE();
  __HAL_RCC_GPIOD_CLK_ENABLE();
  __HAL_RCC_GPIOG_CLK_ENABLE();

  /*Configure GPIO pin Output Level */
  HAL_GPIO_WritePin(GPIOB, LD1_Pin|LD3_Pin|LD2_Pin, GPIO_PIN_RESET);

  /*Configure GPIO pin Output Level */
  HAL_GPIO_WritePin(USB_PowerSwitchOn_GPIO_Port, USB_PowerSwitchOn_Pin, GPIO_PIN_RESET);

  /*Configure GPIO pin : USER_Btn_Pin */
  GPIO_InitStruct.Pin = USER_Btn_Pin;
  GPIO_InitStruct.Mode = GPIO_MODE_IT_RISING;
  GPIO_InitStruct.Pull = GPIO_NOPULL;
  HAL_GPIO_Init(USER_Btn_GPIO_Port, &GPIO_InitStruct);

  /*Configure GPIO pins : LD1_Pin LD3_Pin LD2_Pin */
  GPIO_InitStruct.Pin = LD1_Pin|LD3_Pin|LD2_Pin;
  GPIO_InitStruct.Mode = GPIO_MODE_OUTPUT_PP;
  GPIO_InitStruct.Pull = GPIO_NOPULL;
  GPIO_InitStruct.Speed = GPIO_SPEED_FREQ_LOW;
  HAL_GPIO_Init(GPIOB, &GPIO_InitStruct);

  /*Configure GPIO pin : USB_PowerSwitchOn_Pin */
  GPIO_InitStruct.Pin = USB_PowerSwitchOn_Pin;
  GPIO_InitStruct.Mode = GPIO_MODE_OUTPUT_PP;
  GPIO_InitStruct.Pull = GPIO_NOPULL;
  GPIO_InitStruct.Speed = GPIO_SPEED_FREQ_LOW;
  HAL_GPIO_Init(USB_PowerSwitchOn_GPIO_Port, &GPIO_InitStruct);

  /*Configure GPIO pin : USB_OverCurrent_Pin */
  GPIO_InitStruct.Pin = USB_OverCurrent_Pin;
  GPIO_InitStruct.Mode = GPIO_MODE_INPUT;
  GPIO_InitStruct.Pull = GPIO_NOPULL;
  HAL_GPIO_Init(USB_OverCurrent_GPIO_Port, &GPIO_InitStruct);

}

void Error_Handler(void)
{
  __disable_irq();
  while (1)
  {
  }
}
#ifdef USE_FULL_ASSERT
/**
  * @brief  Reports the name of the source file and the source line number
  *         where the assert_param error has occurred.
  * @param  file: pointer to the source file name
  * @param  line: assert_param error line source number
  * @retval None
  */
void assert_failed(uint8_t *file, uint32_t line)
{
  /* USER CODE BEGIN 6 */
	  (void)file;
	  (void)line;
  /* User can add his own implementation to report the file name and line number,
     ex: printf("Wrong parameters value: file %s on line %d\r\n", file, line) */
  /* USER CODE END 6 */
}
#endif /* USE_FULL_ASSERT */
